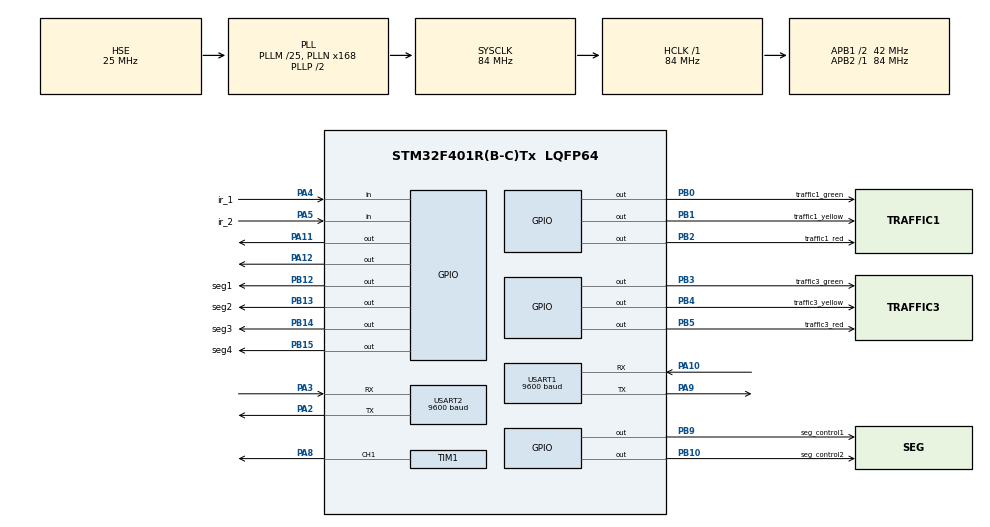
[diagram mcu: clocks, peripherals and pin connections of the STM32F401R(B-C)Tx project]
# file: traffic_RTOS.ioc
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FREERTOS.BinarySemaphores01=myBinaryTraffic,Dynamic,NULL,Available;segmentSem02,Dynamic,NULL,Available
FREERTOS.Queues01=myQueuereceive,10,uint8_t,0,Dynamic,NULL,NULL
FREERTOS.Tasks01=defaultTask,26,128,StartDefaultTask,Default,NULL,Dynamic,NULL,NULL;myTask02,16,128,traffic_light,Default,NULL,Dynamic,NULL,NULL;myTask03,11,128,servo_control,Default,NULL,Dynamic,NULL,NULL;myTask04,20,128,StartTrans,Default,NULL,Dynamic,NULL,NULL;myTask05,9,128,display,Default,NULL,Dynamic,NULL,NULL
FREERTOS.configUSE_NEWLIB_REENTRANT=1
Mcu.Family=STM32F4
Mcu.Name=STM32F401R(B-C)Tx
Mcu.Package=LQFP64
NVIC.PriorityGroup=NVIC_PRIORITYGROUP_4
NVIC.TIM1_CC_IRQn=true\:5\:0\:false\:false\:true\:true\:true\:true\:true
NVIC.TIM2_IRQn=true\:15\:0\:false\:false\:true\:false\:false\:true\:true
NVIC.TimeBase=TIM2_IRQn
NVIC.TimeBaseIP=TIM2
NVIC.USART1_IRQn=true\:5\:0\:false\:false\:true\:true\:true\:true\:true
PA10.Mode=Asynchronous
PA10.Signal=USART1_RX
PA11.Signal=GPIO_Output
PA12.Signal=GPIO_Output
PA2.Mode=Asynchronous
PA2.Signal=USART2_TX
PA3.Mode=Asynchronous
PA3.Signal=USART2_RX
PA4.GPIO_Label=ir_1
PA4.Signal=GPIO_Input
PA5.GPIO_Label=ir_2
PA5.Signal=GPIO_Input
PA8.Signal=S_TIM1_CH1
PA9.Mode=Asynchronous
PA9.Signal=USART1_TX
PB0.GPIO_Label=traffic1_green
PB0.Signal=GPIO_Output
PB1.GPIO_Label=traffic1_yellow
PB1.Signal=GPIO_Output
PB10.GPIO_Label=seg_control2
PB10.Signal=GPIO_Output
PB12.GPIO_Label=seg1
PB12.Signal=GPIO_Output
PB13.GPIO_Label=seg2
PB13.Signal=GPIO_Output
PB14.GPIO_Label=seg3
PB14.Signal=GPIO_Output
PB15.GPIO_Label=seg4
PB15.Signal=GPIO_Output
PB2.GPIO_Label=traffic1_red
PB2.Signal=GPIO_Output
PB3.GPIO_Label=traffic3_green
PB3.Signal=GPIO_Output
PB4.GPIO_Label=traffic3_yellow
PB4.Signal=GPIO_Output
PB5.GPIO_Label=traffic3_red
PB5.Signal=GPIO_Output
PB9.GPIO_Label=seg_control1
PB9.Signal=GPIO_Output
PH0\ -\ OSC_IN.Mode=HSE-External-Oscillator
PH0\ -\ OSC_IN.Signal=RCC_OSC_IN
PH1\ -\ OSC_OUT.Mode=HSE-External-Oscillator
PH1\ -\ OSC_OUT.Signal=RCC_OSC_OUT
ProjectManager.HeapSize=0x200
ProjectManager.StackSize=0x400
ProjectManager.TargetToolchain=STM32CubeIDE
RCC.48MHZClocksFreq_Value=42000000
RCC.AHBFreq_Value=84000000
RCC.APB1CLKDivider=RCC_HCLK_DIV2
RCC.APB1Freq_Value=42000000
RCC.APB1TimFreq_Value=84000000
RCC.APB2Freq_Value=84000000
RCC.APB2TimFreq_Value=84000000
RCC.CortexFreq_Value=84000000
RCC.HCLKFreq_Value=84000000
RCC.HSE_VALUE=25000000
RCC.HSI_VALUE=16000000
RCC.LSE_VALUE=32768
RCC.PLLM=25
RCC.PLLN=168
RCC.PLLSourceVirtual=RCC_PLLSOURCE_HSE
RCC.SYSCLKFreq_VALUE=84000000
RCC.SYSCLKSource=RCC_SYSCLKSOURCE_PLLCLK
RCC.VCOOutputFreq_Value=168000000
SH.S_TIM1_CH1.0=TIM1_CH1,PWM Generation1 CH1
TIM1.Channel-PWM\ Generation1\ CH1=TIM_CHANNEL_1
TIM1.Period=2000-1
TIM1.Prescaler=840-1
USART1.BaudRate=9600
USART1.VirtualMode=VM_ASYNC
USART2.BaudRate=9600
USART2.VirtualMode=VM_ASYNC
VP_FREERTOS_VS_CMSIS_V2.Mode=CMSIS_V2
VP_SYS_VS_tim2.Mode=TIM2
VP_TIM1_VS_ClockSourceINT.Mode=Internal
board=custom

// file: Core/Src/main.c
/* USER CODE BEGIN Header */
/**
  ******************************************************************************
  * @file           : main.c
  * @brief          : Main program body
  ******************************************************************************
  * @attention
  *
  * Copyright (c) 2025 STMicroelectronics.
  * All rights reserved.
  *
  * This software is licensed under terms that can be found in the LICENSE file
  * in the root directory of this software component.
  * If no LICENSE file comes with this software, it is provided AS-IS.
  *
  ******************************************************************************
  */
/* USER CODE END Header */
#include "main.h"
#include "cmsis_os.h"
#include "tim.h"
#include "usart.h"
#include "gpio.h"

/* USER CODE BEGIN Includes */
#include "servo_cfg.h"
/* USER CODE END Includes */

/* USER CODE BEGIN PV */

uint8_t ir_sensor_1 ;
uint8_t ir_sensor_2 ;
uint8_t traffic_1_counter ;

uint8_t blurtooth_send[5] = {'F','B','L','R'} ;
uint8_t reciever  ;
uint8_t traffic_send = 0 ;
uint8_t data = 'S';
uint8_t data2 = 0;
uint8_t stop_data = 'j';

uint8_t previous_state;
uint8_t previous_state_urduino;

uint8_t flag ;

/* USER CODE END PV */

void SystemClock_Config(void);
void MX_FREERTOS_Init(void);

int main(void)
{

  /* MCU Configuration--------------------------------------------------------*/

  /* Reset of all peripherals, Initializes the Flash interface and the Systick. */
+++++++++--------------------  HAL_Init();

  /* Configure the system clock */
  SystemClock_Config();

  /* Initialize all configured peripherals */
  MX_GPIO_Init();
  MX_TIM1_Init();
  MX_USART1_UART_Init();
  MX_USART2_UART_Init();
  /* USER CODE BEGIN 2 */
  HAL_TIM_Base_Start_IT(&htim2);
  HAL_UART_Receive_IT(&huart1, &reciever, 1);
  MX_USART2_UART_Init();

  /* USER CODE END 2 */

  /* Init scheduler */
  osKernelInitialize();

  /* Call init function for freertos objects (in cmsis_os2.c) */
  MX_FREERTOS_Init();

  /* Start scheduler */
  osKernelStart();

  /* We should never get here as control is now taken by the scheduler */

  /* Infinite loop */
  while (1)
  {

  }
}

void SystemClock_Config(void)
{
  RCC_OscInitTypeDef RCC_OscInitStruct = {0};
  RCC_ClkInitTypeDef RCC_ClkInitStruct = {0};

  /** Configure the main internal regulator output voltage
  */
  __HAL_RCC_PWR_CLK_ENABLE();
  __HAL_PWR_VOLTAGESCALING_CONFIG(PWR_REGULATOR_VOLTAGE_SCALE2);

  /** Initializes the RCC Oscillators according to the specified parameters
  * in the RCC_OscInitTypeDef structure.
  */
  RCC_OscInitStruct.OscillatorType = RCC_OSCILLATORTYPE_HSE;
  RCC_OscInitStruct.HSEState = RCC_HSE_ON;
  RCC_OscInitStruct.PLL.PLLState = RCC_PLL_ON;
  RCC_OscInitStruct.PLL.PLLSource = RCC_PLLSOURCE_HSE;
  RCC_OscInitStruct.PLL.PLLM = 25;
  RCC_OscInitStruct.PLL.PLLN = 168;
  RCC_OscInitStruct.PLL.PLLP = RCC_PLLP_DIV2;
  RCC_OscInitStruct.PLL.PLLQ = 4;
  if (HAL_RCC_OscConfig(&RCC_OscInitStruct) != HAL_OK)
  {
    Error_Handler();
  }

  /** Initializes the CPU, AHB and APB buses clocks
  */
  RCC_ClkInitStruct.ClockType = RCC_CLOCKTYPE_HCLK|RCC_CLOCKTYPE_SYSCLK
                              |RCC_CLOCKTYPE_PCLK1|RCC_CLOCKTYPE_PCLK2;
  RCC_ClkInitStruct.SYSCLKSource = RCC_SYSCLKSOURCE_PLLCLK;
  RCC_ClkInitStruct.AHBCLKDivider = RCC_SYSCLK_DIV1;
  RCC_ClkInitStruct.APB1CLKDivider = RCC_HCLK_DIV2;
  RCC_ClkInitStruct.APB2CLKDivider = RCC_HCLK_DIV1;

  if (HAL_RCC_ClockConfig(&RCC_ClkInitStruct, FLASH_LATENCY_2) != HAL_OK)
  {
    Error_Handler();
  }
}

void HAL_TIM_PeriodElapsedCallback(TIM_HandleTypeDef *htim)
{
  if (htim->Instance == TIM2) {
    HAL_IncTick();
  }
}

void Error_Handler(void)
{
  __disable_irq();
  while (1)
  {
  }
}

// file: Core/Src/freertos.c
/* USER CODE BEGIN Header */
/**
  ******************************************************************************
  * File Name          : freertos.c
  * Description        : Code for freertos applications
  ******************************************************************************
  * @attention
  *
  * Copyright (c) 2025 STMicroelectronics.
  * All rights reserved.
  *
  * This software is licensed under terms that can be found in the LICENSE file
  * in the root directory of this software component.
  * If no LICENSE file comes with this software, it is provided AS-IS.
  *
  ******************************************************************************
  */
/* USER CODE END Header */

#include "FreeRTOS.h"
#include "task.h"
#include "main.h"
#include "cmsis_os.h"

/* USER CODE BEGIN Includes */
#include "servo_cfg.h"
#include "usart.h"
#include "queue.h"
#include "Segment_cfg.h"
/* USER CODE END Includes */

/* USER CODE BEGIN Variables */

extern uint8_t ir_sensor_1 ;
extern uint8_t ir_sensor_2 ;
extern uint8_t traffic_1_counter ;

extern uint8_t blurtooth_send[5] ;
extern uint8_t reciever  ;
extern uint8_t traffic_send ;
extern uint8_t data ;
extern uint8_t data2 ;
extern uint8_t stop_data ;

extern uint8_t previous_state;
extern uint8_t previous_state_urduino;

extern uint8_t flag ;

uint8_t segment_counter;
/* USER CODE END Variables */
/* Definitions for defaultTask */
osThreadId_t defaultTaskHandle;
const osThreadAttr_t defaultTask_attributes = {
  .name = "defaultTask",
  .stack_size = 128 * 4,
  .priority = (osPriority_t) osPriorityNormal2,
};
/* Definitions for myTask02 */
osThreadId_t myTask02Handle;
const osThreadAttr_t myTask02_attributes = {
  .name = "myTask02",
  .stack_size = 128 * 4,
  .priority = (osPriority_t) osPriorityBelowNormal,
};
/* Definitions for myTask03 */
osThreadId_t myTask03Handle;
const osThreadAttr_t myTask03_attributes = {
  .name = "myTask03",
  .stack_size = 128 * 4,
  .priority = (osPriority_t) osPriorityLow3,
};
/* Definitions for myTask04 */
osThreadId_t myTask04Handle;
const osThreadAttr_t myTask04_attributes = {
  .name = "myTask04",
  .stack_size = 128 * 4,
  .priority = (osPriority_t) osPriorityBelowNormal4,
};
/* Definitions for myTask05 */
osThreadId_t myTask05Handle;
const osThreadAttr_t myTask05_attributes = {
  .name = "myTask05",
  .stack_size = 128 * 4,
  .priority = (osPriority_t) osPriorityLow1,
};
/* Definitions for myQueuereceive */
osMessageQueueId_t myQueuereceiveHandle;
const osMessageQueueAttr_t myQueuereceive_attributes = {
  .name = "myQueuereceive"
};
/* Definitions for myBinaryTraffic */
osSemaphoreId_t myBinaryTrafficHandle;
const osSemaphoreAttr_t myBinaryTraffic_attributes = {
  .name = "myBinaryTraffic"
};
/* Definitions for segmentSem02 */
osSemaphoreId_t segmentSem02Handle;
const osSemaphoreAttr_t segmentSem02_attributes = {
  .name = "segmentSem02"
};

void StartDefaultTask(void *argument);
void traffic_light(void *argument);
void servo_control(void *argument);
void StartTrans(void *argument);
void display(void *argument);

void MX_FREERTOS_Init(void); /* (MISRA C 2004 rule 8.1) */

void MX_FREERTOS_Init(void) {

  /* Create the semaphores(s) */
  /* creation of myBinaryTraffic */
  myBinaryTrafficHandle = osSemaphoreNew(1, 1, &myBinaryTraffic_attributes);

  /* creation of segmentSem02 */
  segmentSem02Handle = osSemaphoreNew(1, 1, &segmentSem02_attributes);

  /* Create the queue(s) */
  /* creation of myQueuereceive */
  myQueuereceiveHandle = osMessageQueueNew (10, sizeof(uint8_t), &myQueuereceive_attributes);

  /* Create the thread(s) */
  /* creation of defaultTask */
  defaultTaskHandle = osThreadNew(StartDefaultTask, NULL, &defaultTask_attributes);

  /* creation of myTask02 */
  myTask02Handle = osThreadNew(traffic_light, NULL, &myTask02_attributes);

  /* creation of myTask03 */
  myTask03Handle = osThreadNew(servo_control, NULL, &myTask03_attributes);

  /* creation of myTask04 */
  myTask04Handle = osThreadNew(StartTrans, NULL, &myTask04_attributes);

  /* creation of myTask05 */
  myTask05Handle = osThreadNew(display, NULL, &myTask05_attributes);

}

void StartDefaultTask(void *argument)
{
  /* USER CODE BEGIN StartDefaultTask */
  /* Infinite loop */
  for(;;)
  {
	  traffic_1_counter++;
	  segment_counter++;
	  		if(traffic_1_counter <= 20){
	  			HAL_GPIO_WritePin(GPIOB, traffic1_green_Pin,  GPIO_PIN_RESET);
	  			HAL_GPIO_WritePin(GPIOB, traffic1_yellow_Pin, GPIO_PIN_RESET);
	  			HAL_GPIO_WritePin(GPIOB, traffic1_red_Pin,    GPIO_PIN_SET);
	  			HAL_GPIO_WritePin(GPIOB, traffic3_green_Pin,  GPIO_PIN_RESET);
	  			HAL_GPIO_WritePin(GPIOB, traffic3_yellow_Pin, GPIO_PIN_RESET);
	  			HAL_GPIO_WritePin(GPIOB, traffic3_red_Pin,    GPIO_PIN_SET);
	  			osSemaphoreAcquire(myBinaryTrafficHandle, 100);
	  			traffic_send = 'Z';
	  			if(traffic_1_counter == 20){
	  				osSemaphoreAcquire(segmentSem02Handle, 100);
	  				segment_counter =0 ;
	  				osSemaphoreRelease(segmentSem02Handle);
	  			}
	  			osSemaphoreRelease(myBinaryTrafficHandle);
	  		}else if((traffic_1_counter > 20) && (traffic_1_counter <= 80)){
	  			HAL_GPIO_WritePin(GPIOB, traffic1_green_Pin,  GPIO_PIN_SET);
	  			HAL_GPIO_WritePin(GPIOB, traffic1_yellow_Pin, GPIO_PIN_RESET);
	  			HAL_GPIO_WritePin(GPIOB, traffic1_red_Pin,    GPIO_PIN_RESET);
	  			HAL_GPIO_WritePin(GPIOB, traffic3_green_Pin,  GPIO_PIN_SET);
	  			HAL_GPIO_WritePin(GPIOB, traffic3_yellow_Pin, GPIO_PIN_RESET);
	  			HAL_GPIO_WritePin(GPIOB, traffic3_red_Pin,    GPIO_PIN_RESET);
	  			osSemaphoreAcquire(myBinaryTrafficHandle, 100);
	  			traffic_send = 'X';
	  			if(traffic_1_counter == 0){
	  				osSemaphoreAcquire(segmentSem02Handle, 100);
	  				segment_counter =0 ;
	  				osSemaphoreRelease(segmentSem02Handle);
	  			}
	  			osSemaphoreRelease(myBinaryTrafficHandle);
	  		}else if((traffic_1_counter > 80) && (traffic_1_counter <= 85)){
	  			HAL_GPIO_WritePin(GPIOB, traffic1_green_Pin,  GPIO_PIN_RESET);
	  			HAL_GPIO_WritePin(GPIOB, traffic1_yellow_Pin, GPIO_PIN_SET);
	  			HAL_GPIO_WritePin(GPIOB, traffic1_red_Pin,    GPIO_PIN_RESET);
	  			HAL_GPIO_WritePin(GPIOB, traffic3_green_Pin,  GPIO_PIN_RESET);
	  			HAL_GPIO_WritePin(GPIOB, traffic3_yellow_Pin, GPIO_PIN_SET);
	  			HAL_GPIO_WritePin(GPIOB, traffic3_red_Pin,    GPIO_PIN_RESET);
	  			osSemaphoreAcquire(myBinaryTrafficHandle, 100);
	  			traffic_send = 'Y';
	  			if(traffic_1_counter == 85) {
	  				traffic_1_counter = 0;
	  				osSemaphoreAcquire(segmentSem02Handle, 100);
	  				segment_counter =0 ;
	  				osSemaphoreRelease(segmentSem02Handle);
	  			}
	  			osSemaphoreRelease(myBinaryTrafficHandle);
	  		}
	  	  if(previous_state != data2){
	  		  previous_state = data2;
	  		  HAL_UART_Transmit(&huart1, &data2, 1, HAL_MAX_DELAY);
	  	  }
    osDelay(1000);
  }
  /* USER CODE END StartDefaultTask */
}

void traffic_light(void *argument)
{
  /* USER CODE BEGIN traffic_light */
  /* Infinite loop */
  for(;;)
  {
	      ir_sensor_1 = HAL_GPIO_ReadPin(GPIOA, ir_1_Pin);
	  	  ir_sensor_2 = HAL_GPIO_ReadPin(GPIOA, ir_2_Pin);

	  	  if((ir_sensor_1 == GPIO_PIN_RESET) || (ir_sensor_2 == GPIO_PIN_RESET)){
	  		  servo_Motor_Start_angle_90(&servo);
	  	  }else{
	  		  servo_Motor_Start_angle_N90(&servo);
	  	  }
    osDelay(10);
  }
  /* USER CODE END traffic_light */
}

void servo_control(void *argument)
{
  /* USER CODE BEGIN servo_control */
  /* Infinite loop */
  for(;;)
  {
	  xQueueReceive(myQueuereceiveHandle,&data,100);
	  //data = reciever;
	  if (osSemaphoreAcquire(myBinaryTrafficHandle, 100) == osOK) {
	  data2 = traffic_send;
	  if ((traffic_send == 'Z') && (flag == 0)) {
	      HAL_UART_Transmit(&huart2, &stop_data, 1, HAL_MAX_DELAY);
	      flag = 1;  // Set flag to avoid repeated transmissions
	  } else if (traffic_send != 'Z') {
	      if (previous_state_urduino != data) {
	          previous_state_urduino = data;
	          HAL_UART_Transmit(&huart2, &data, 1, HAL_MAX_DELAY);
	      }
	      flag = 0;  // Reset flag when traffic is not 'Z'
	  }
	  if(previous_state != data2){
	  		  previous_state = data2;
	  		  HAL_UART_Transmit(&huart1, &data2, 1, HAL_MAX_DELAY);
	  	  }
	    osSemaphoreRelease(myBinaryTrafficHandle);
	}
    osDelay(50);
  }
  /* USER CODE END servo_control */
}

void StartTrans(void *argument)
{
  for(;;)
  {
    osDelay(1);
  }
}

void display(void *argument)
{
  /* USER CODE BEGIN display */
  /* Infinite loop */
  for(;;)
  {
	  HAL_GPIO_WritePin(GPIOB, GPIO_PIN_10, GPIO_PIN_SET);
	  osSemaphoreAcquire(segmentSem02Handle, 100);
	  segment_wright_logic(&segment,segment_counter/10);
	  osSemaphoreRelease(segmentSem02Handle);
	  osDelay(10);
	  HAL_GPIO_WritePin(GPIOB, GPIO_PIN_10, GPIO_PIN_RESET);
	  HAL_GPIO_WritePin(GPIOB, GPIO_PIN_9, GPIO_PIN_SET);
	  osSemaphoreAcquire(segmentSem02Handle, 100);
	  segment_wright_logic(&segment,segment_counter%10);
	  osSemaphoreRelease(segmentSem02Handle);
	  osDelay(10);
	  HAL_GPIO_WritePin(GPIOB, GPIO_PIN_9, GPIO_PIN_RESET);
  }
  /* USER CODE END display */
}

/* USER CODE BEGIN Application */
void HAL_UART_RxCpltCallback(UART_HandleTypeDef *huart) {
    if (huart->Instance == USART1) {

    	HAL_UART_Receive_IT(&huart1, &reciever, 1);
    	xQueueSendToBackFromISR(myQueuereceiveHandle,(void *)&reciever,NULL);
    }
}
/* USER CODE END Application */
